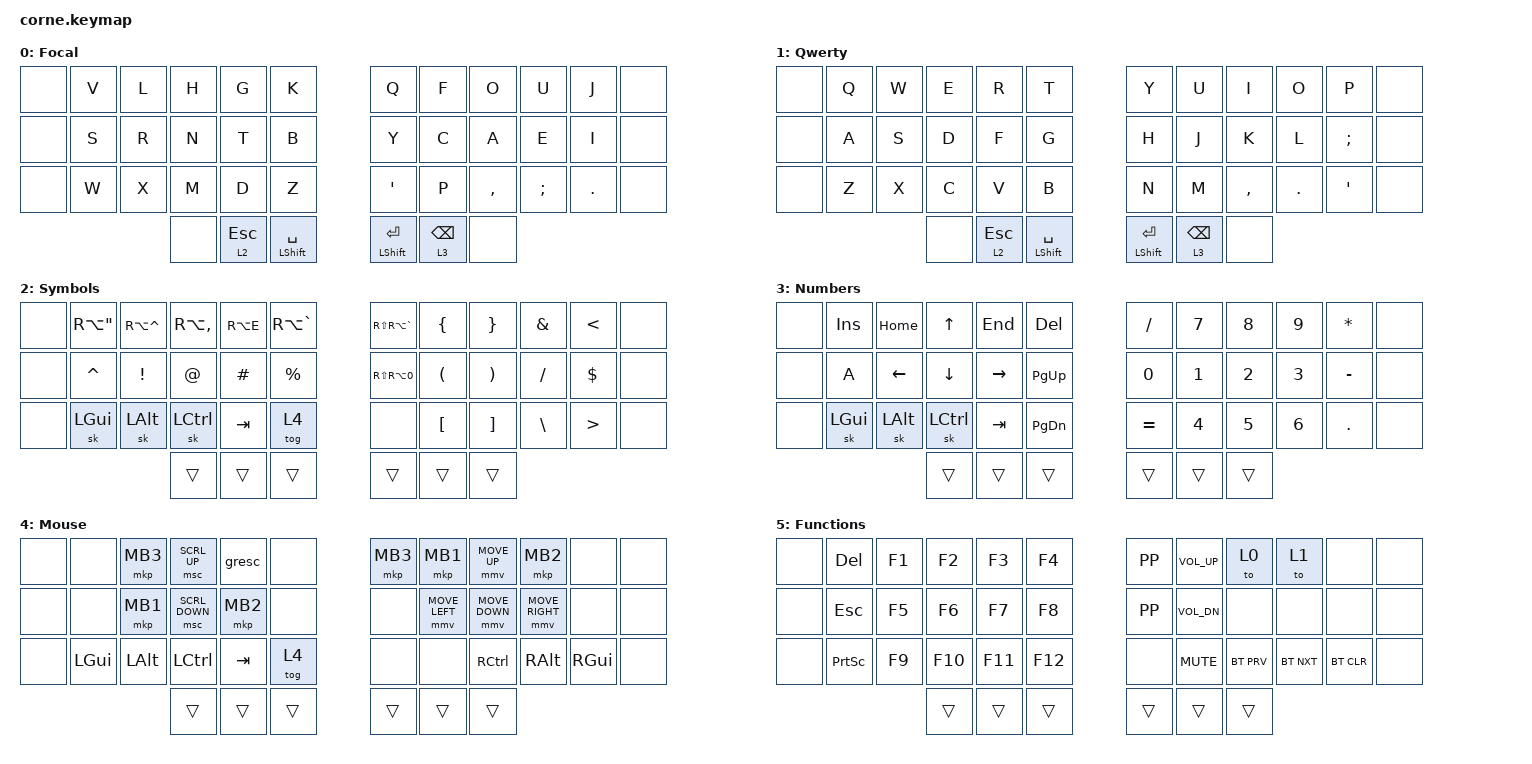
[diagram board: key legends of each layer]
/*
 * Copyright (c) 2020 The ZMK Contributors
 *
 * SPDX-License-Identifier: MIT
 */

#include <behaviors.dtsi>
#include <dt-bindings/zmk/keys.h>
#include <dt-bindings/zmk/bt.h>
#include <dt-bindings/zmk/pointing.h>

/ {
        keymap {
                compatible = "zmk,keymap";

                default_layer /* 0 */ {
						 display-name = "Focal";
// -----------------------------------------------------------------------------------------
// | NONE |  V  |  L  |  H  |  G  |  K  |   |  Q  |  F   |  O  |  U  |  J  | NONE |
// | NONE |  S  |  R  |  N  |  T  |  B  |   |  Y  |  C   |  A  |  E  |  I  | NONE |
// | NONE |  W  |  X  |  M  |  D  |  Z  |   |  '  |  P   |  ,  |  ;  |  .  | NONE |
//                    |NONE | SYM | SPC |   | ENT | NUM  |NONE |
                        bindings = <
   &none &kp V &kp L &kp H &kp G     &kp K                &kp Q          &kp F      &kp O     &kp U	   &kp J   &none
   &none &kp S &kp R &kp N &kp T     &kp B                &kp Y          &kp C      &kp A     &kp E    &kp I   &none
   &none &kp W &kp X &kp M &kp D     &kp Z                &kp QUOT       &kp P      &kp COMMA &kp SEMI &kp DOT &none
                     &none &lt 2 ESC &mt LSHIFT SPACE     &mt LSHIFT RET &lt 3 BSPC &none
                        >;
                };

					 qwerty_layer /* 1 */ {
						 display-name = "Qwerty";
// -----------------------------------------------------------------------------------------
// | NONE |  Q  |  W  |  E  |  R  |  T  |   |  Y  |  U   |  I  |  O  |  P  | NONE |
// | NONE |  A  |  S  |  D  |  F  |  G  |   |  H  |  J   |  K  |  L  |  ;  | NONE |
// | NONE |  Z  |  X  |  C  |  V  |  B  |   |  N  |  M   |  ,  |  .  |  '  | NONE |
//                    |NONE | SYM | SPC |   | ENT | NUM  |NONE |
                        bindings = <
   &none &kp Q &kp W &kp E &kp R     &kp T                &kp Y          &kp U      &kp I     &kp O	  &kp P    &none
   &none &kp A &kp S &kp D &kp F     &kp G                &kp H          &kp J      &kp K     &kp L   &kp SEMI &none
   &none &kp Z &kp X &kp C &kp V     &kp B                &kp N          &kp M      &kp COMMA &kp DOT &kp QUOT &none
                     &none &lt 2 ESC &mt LSHIFT SPACE     &mt LSHIFT RET &lt 3 BSPC &none
                        >;
                };

					 symbols_layer /* 2 */ {
						 display-name = "Symbols";
//	Top row contains everything for the French accentued letters:
//		" then press a letter for the 2 dots accent (ï, ü, ë)
//		^ then press a letter for the circonflexe accent (ê, ô, â, î, û)
//		ç
//		é
//		` then press a letter for the grave accent (è, à, ù)
//	Frequence order: é ` ç ^ "
// -----------------------------------------------------------------------------------------
// | NONE |  "  |  ^  |  ç  |  é  |  `  |   |  ~  |  {   |  }  |  &  |  <  | NONE |
// | NONE |  ^  |  !  |  @  |  #  |  %  |   |  °  |  (   |  )  |  /  |  $  | NONE |
// | NONE | GUI | ALT | CTL | TAB | MSE |   | ___ |  [   |  ]  |  \  |  >  | NONE |
//                    |NONE | SYM | SPC |   | ENT | NUM  |NONE |
                        bindings = <
   &none &kp RA(DQT) &kp RA(CARET) &kp RA(COMMA) &kp RA(E) &kp RA(GRAVE)     &kp RS(RA(GRAVE)) &kp LBRC &kp RBRC &kp AMPS  &kp LT   &none
   &none &kp CARET   &kp EXCL      &kp AT        &kp HASH  &kp PRCNT         &kp RS(RA(0))     &kp LPAR &kp RPAR &kp SLASH &kp DLLR &none
   &none &sk LGUI    &sk LALT      &sk LCTL      &kp TAB   &tog 4            &none             &kp LBKT &kp RBKT &kp BSLH  &kp GT   &none
                                   &trans        &trans    &trans            &trans            &trans   &trans
                        >;
                };

					 numbers_layer /* 3 */ {
						 display-name = "Numbers";
// -----------------------------------------------------------------------------------------
// | NONE | INS |HOME | UP  | END | DEL |   |  /  |  7   |  8  |  9  |  *  | NONE |
// | NONE |GESC |LEFT | DN  |RGHT |PGUP |   |  0  |  1   |  2  |  3  |  -  | NONE |
// | NONE | GUI | ALT | CTL | TAB |PGDN |   |  =  |  4   |  5  |  6  |  .  | NONE |
//                    |NONE | SYM | SPC |   | ENT | NUM  |NONE |
                        bindings = <
   &none &kp INS  &kp HOME &kp UP   &kp END   &kp DEL       &kp SLASH &kp 7  &kp 8 &kp 9 &kp STAR  &none
   &none &kp A    &kp LEFT &kp DOWN &kp RIGHT &kp PG_UP     &kp 0     &kp 1  &kp 2 &kp 3 &kp MINUS &none
   &none &sk LGUI &sk LALT &sk LCTL &kp TAB   &kp PG_DN     &kp EQUAL &kp 4  &kp 5 &kp 6 &kp DOT   &none
                           &trans   &trans    &trans        &trans    &trans &trans
                        >;
                };

					 mouse_layer /* 4 */ {
						 display-name = "Mouse";
// -----------------------------------------------------------------------------------------
// | NONE | NONE |BTN3 |WHUP |GESC | NONE |   | BTN3 | BTN1 | MSUP | BTN2 | NONE | NONE |
// | NONE | NONE |BTN1 |WHDN |BTN2 | NONE |   | NONE | MSLF | MSDN | MSRG | NONE | NONE |
// | NONE | GUI  | ALT | CTL | TAB |  TGL |   | NONE | NONE | RCTL | RALT | RGUI | NONE |
//                     |NONE | SYM | SPC  |   | ENT  | NUM  | NONE |
                        bindings = <
   &none &none    &mkp MB3 &msc SCRL_UP   &gresc   &none      &mkp MB3 &mkp MB1       &mmv MOVE_UP   &mkp MB2        &none    &none
   &none &none    &mkp MB1 &msc SCRL_DOWN &mkp MB2 &none      &none    &mmv MOVE_LEFT &mmv MOVE_DOWN &mmv MOVE_RIGHT &none    &none
   &none &kp LGUI &kp LALT &kp LCTL       &kp TAB  &tog 4     &none    &none          &kp RCTL       &kp RALT        &kp RGUI &none
                            &trans        &trans   &trans     &trans   &trans         &trans
                        >;
                };

					 function_layer /* 5 */ {
						 display-name = "Functions";
// -----------------------------------------------------------------------------------------
// | NONE |  DEL | F1  | F2  | F3  | F4  |   | MPLY | VOLU | FOCAL|QWERTY| NONE | NONE |
// | NONE |  ESC | F5  | F6  | F7  | F8  |   | MPST | VOLD | NONE | NONE | NONE | NONE |
// | NONE | PSCR | F9  | F10 | F11 | F12 |   | NONE | MUTE | BTNX | BTPR | BTCL | NONE |
//                     |NONE | SYM | SPC |   | ENT  | NUM  | NONE |
                        bindings = <
   &none &kp DEL   &kp F1 &kp F2  &kp F3  &kp F4      &kp K_PP &kp K_VOL_UP &to 0      &to 1      &none      &none
   &none &kp ESC   &kp F5 &kp F6  &kp F7  &kp F8      &kp K_PP &kp K_VOL_DN &none      &none      &none      &none
   &none &kp PSCRN &kp F9 &kp F10 &kp F11 &kp F12     &none    &kp K_MUTE   &bt BT_PRV &bt BT_NXT &bt BT_CLR &none
                          &trans  &trans  &trans      &trans   &trans       &trans
                        >;
                };
        };

		  conditional_layers {
			  compatible = "zmk,conditional-layers";
			  tri_layer {
				  if-layers = <2 3>;
				  then-layer = <5>;
			  };
		  };

		  behaviors {
			  bspc_del: backspace_delete {
				  compatible = "zmk,behavior-mod-morph";
				  #binding-cells = <0>;
				  bindings = <&kp BSPC>, <&kp DEL>;
				  mods = <(MOD_LSFT|MOD_RSFT)>;
			  };

		  };
};

